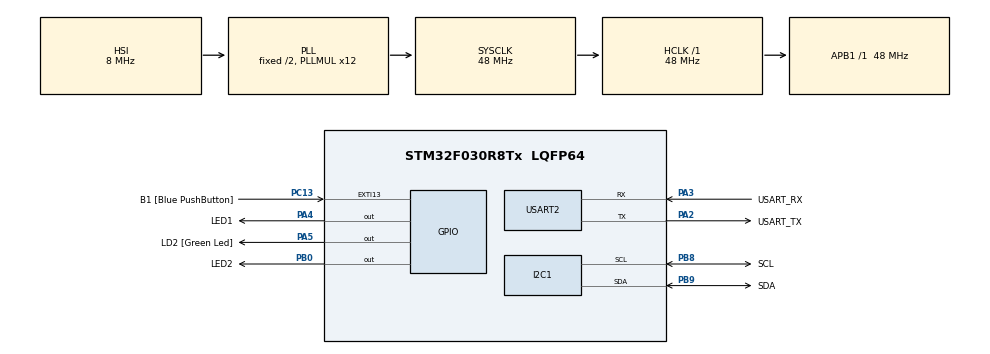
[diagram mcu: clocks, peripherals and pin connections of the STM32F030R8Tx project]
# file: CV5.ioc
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Dma.Request0=USART2_RX
Dma.USART2_RX.0.Direction=DMA_PERIPH_TO_MEMORY
Dma.USART2_RX.0.Instance=DMA1_Channel5
Dma.USART2_RX.0.MemDataAlignment=DMA_MDATAALIGN_BYTE
Dma.USART2_RX.0.MemInc=DMA_MINC_ENABLE
Dma.USART2_RX.0.Mode=DMA_CIRCULAR
Dma.USART2_RX.0.PeriphDataAlignment=DMA_PDATAALIGN_BYTE
Dma.USART2_RX.0.PeriphInc=DMA_PINC_DISABLE
Dma.USART2_RX.0.Priority=DMA_PRIORITY_LOW
Mcu.Family=STM32F0
Mcu.Name=STM32F030R8Tx
Mcu.Package=LQFP64
NVIC.DMA1_Channel4_5_IRQn=true\:0\:0\:false\:false\:true\:false\:true\:true
PA13.GPIO_Label=TMS
PA13.Mode=Serial_Wire
PA13.Signal=SYS_SWDIO
PA14.GPIO_Label=TCK
PA14.Mode=Serial_Wire
PA14.Signal=SYS_SWCLK
PA2.GPIO_Label=USART_TX
PA2.GPIO_Mode=GPIO_MODE_AF_PP
PA2.GPIO_PuPd=GPIO_NOPULL
PA2.GPIO_Speed=GPIO_SPEED_FREQ_LOW
PA2.Mode=Asynchronous
PA2.Signal=USART2_TX
PA3.GPIO_Label=USART_RX
PA3.GPIO_Mode=GPIO_MODE_AF_PP
PA3.GPIO_PuPd=GPIO_NOPULL
PA3.GPIO_Speed=GPIO_SPEED_FREQ_LOW
PA3.Mode=Asynchronous
PA3.Signal=USART2_RX
PA4.GPIO_Label=LED1
PA4.Signal=GPIO_Output
PA5.GPIO_Label=LD2 [Green Led]
PA5.GPIO_Mode=GPIO_MODE_OUTPUT_PP
PA5.GPIO_PuPd=GPIO_NOPULL
PA5.GPIO_Speed=GPIO_SPEED_FREQ_LOW
PA5.Signal=GPIO_Output
PB0.GPIO_Label=LED2
PB0.Signal=GPIO_Output
PB8.GPIO_Label=SCL
PB8.Mode=I2C
PB8.Signal=I2C1_SCL
PB9.GPIO_Label=SDA
PB9.Mode=I2C
PB9.Signal=I2C1_SDA
PC13.GPIO_Label=B1 [Blue PushButton]
PC13.GPIO_ModeDefaultEXTI=GPIO_MODE_IT_FALLING
PC13.Signal=GPXTI13
PC14-OSC32_IN.Mode=LSE-External-Oscillator
PC14-OSC32_IN.Signal=RCC_OSC32_IN
PC15-OSC32_OUT.Mode=LSE-External-Oscillator
PC15-OSC32_OUT.Signal=RCC_OSC32_OUT
PF0-OSC_IN.Mode=HSE-External-Clock-Source
PF0-OSC_IN.Signal=RCC_OSC_IN
PF1-OSC_OUT.Signal=RCC_OSC_OUT
ProjectManager.HeapSize=0x200
ProjectManager.StackSize=0x400
ProjectManager.TargetToolchain=STM32CubeIDE
RCC.AHBFreq_Value=48000000
RCC.APB1Freq_Value=48000000
RCC.APB1TimFreq_Value=48000000
RCC.HCLKFreq_Value=48000000
RCC.PLLMUL=RCC_PLL_MUL12
RCC.SYSCLKFreq_VALUE=48000000
RCC.SYSCLKSource=RCC_SYSCLKSOURCE_PLLCLK
USART2.VirtualMode-Asynchronous=VM_ASYNC
board=NUCLEO-F030R8

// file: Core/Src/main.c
/* USER CODE BEGIN Header */
/**
 ******************************************************************************
 * @file           : main.c
 * @brief          : Main program body
 ******************************************************************************
 * @attention
 *
 * Copyright (c) 2023 STMicroelectronics.
 * All rights reserved.
 *
 * This software is licensed under terms that can be found in the LICENSE file
 * in the root directory of this software component.
 * If no LICENSE file comes with this software, it is provided AS-IS.
 *
 ******************************************************************************
 */
/* USER CODE END Header */
#include "main.h"

/* USER CODE BEGIN Includes */
#include <string.h>
#include <stdio.h>
#include <stdlib.h>
/* USER CODE END Includes */

/* USER CODE BEGIN PD */
//definícia bufferu a indexu �?ítania/zápisu
#define RX_BUFFER_LEN 64
#define uart_rx_write_ptr (RX_BUFFER_LEN - hdma_usart2_rx.Instance->CNDTR)
#define CMD_BUFFER_LEN 256
#define EEPROM_ADDR 0xA0
//16-bit adresovanie
/* USER CODE END PD */

I2C_HandleTypeDef hi2c1;

UART_HandleTypeDef huart2;
DMA_HandleTypeDef hdma_usart2_rx;

/* USER CODE BEGIN PV */
//premenné pre def. bufferu a indexu �?ítania/zápisu
static uint8_t uart_rx_buf[RX_BUFFER_LEN];
static volatile uint16_t uart_rx_read_ptr = 0;
/* USER CODE END PV */

void SystemClock_Config(void);
static void MX_GPIO_Init(void);
static void MX_DMA_Init(void);
static void MX_USART2_UART_Init(void);
static void MX_I2C1_Init(void);

/* USER CODE BEGIN 0 */
int _write(int file, char const *buf, int n) {
	/* stdout redirection to UART2 */
	HAL_UART_Transmit(&huart2, (uint8_t*) (buf), n, HAL_MAX_DELAY);
	return n;
}

static void uart_process_command(char *cmd) {
	//addr - internal memory address
	//value - pointer to data buffer
	uint16_t addr = 0;
	uint8_t value = 0;

	char *token;
	token = strtok(cmd, " ");
	//printf("prijato: '%s'\n", cmd);

	if (strcasecmp(token, "HELLO") == 0) {
		printf("Komunikace OK.\n");
	} else if (strcasecmp(token, "LED1") == 0) {
		token = strtok(NULL, " ");
		if (strcasecmp(token, "ON") == 0) {
			HAL_GPIO_WritePin(LED1_GPIO_Port, LED1_Pin, GPIO_PIN_SET);
			printf("LED1 ON - OK.\n");
		} else if (strcasecmp(token, "OFF") == 0) {
			HAL_GPIO_WritePin(LED1_GPIO_Port, LED1_Pin, GPIO_PIN_RESET);
			printf("LED1 OFF - OK.\n");
		}
	} else if (strcasecmp(token, "LED2") == 0) {
		token = strtok(NULL, " ");
		if (strcasecmp(token, "ON") == 0) {
			HAL_GPIO_WritePin(LED2_GPIO_Port, LED2_Pin, GPIO_PIN_SET);
			printf("LED2 ON - OK.\n");
		} else if (strcasecmp(token, "OFF") == 0) {
			HAL_GPIO_WritePin(LED2_GPIO_Port, LED2_Pin, GPIO_PIN_RESET);
			printf("LED2 OFF - OK.\n");
		}
	} else if (strcasecmp(token, "STATUS") == 0) {
		printf("LED STATUS:\n");
		if (HAL_GPIO_ReadPin(LED1_GPIO_Port, LED1_Pin) == 0) {
			printf("LED1 OFF.\n");
		} else {
			printf("LED1 ON.\n");
		}

		if (HAL_GPIO_ReadPin(LED2_GPIO_Port, LED2_Pin) == 0) {
			printf("LED2 OFF.\n");
		} else {
			printf("LED2 ON.\n");
		}
	} else if (strcasecmp(token, "READ") == 0) {
		token = strtok(NULL, " ");
		addr = atoi(token);

		HAL_I2C_Mem_Read(&hi2c1, EEPROM_ADDR, addr, I2C_MEMADD_SIZE_16BIT,
				&value, 1, 1000);
		printf("Adresa %#04X = %#02X\n", addr, value);
	} else if (strcasecmp(token, "WRITE") == 0) {
		token = strtok(NULL, " ");
		addr = atoi(token);

		token = strtok(NULL, " ");
		value = atoi(token);

		HAL_I2C_Mem_Write(&hi2c1, EEPROM_ADDR, addr, I2C_MEMADD_SIZE_16BIT,
				&value, 1, 1000);
		while (HAL_I2C_IsDeviceReady(&hi2c1, EEPROM_ADDR, 300, 1000)
				== HAL_TIMEOUT) {
		}
		printf("OK.\n");
	} else if (strcasecmp(token, "DUMP") == 0) {
		//addr - internal memory address
		//value - pointer to data buffer
		//uint16_t addr;
		//uint8_t value;

		for (uint8_t i = 0; i < 16; i++) {
			addr = i;
			HAL_I2C_Mem_Read(&hi2c1, EEPROM_ADDR, addr, I2C_MEMADD_SIZE_16BIT,
					&value, 1, 1000);
			printf("%X ", value);
		}
		printf("\n");
	}
}

static void uart_byte_available(uint8_t c) {
	static uint16_t cnt;
	static char data[CMD_BUFFER_LEN];
	if (cnt < CMD_BUFFER_LEN && c >= 32 && c <= 126)
		data[cnt++] = c;
	if ((c == '\n' || c == '\r') && cnt > 0) {
		data[cnt] = '\0';
		uart_process_command(data);
		cnt = 0;
	}
}
/* USER CODE END 0 */

int main(void) {

	/* MCU Configuration--------------------------------------------------------*/

	/* Reset of all peripherals, Initializes the Flash interface and the Systick. */
	HAL_Init();

	/* Configure the system clock */
	SystemClock_Config();

	/* Initialize all configured peripherals */
	MX_GPIO_Init();
	MX_DMA_Init();
	MX_USART2_UART_Init();
	MX_I2C1_Init();
	/* USER CODE BEGIN 2 */
	//aktivovanie DMA pre UART
	HAL_UART_Receive_DMA(&huart2, uart_rx_buf, RX_BUFFER_LEN);
	/* USER CODE END 2 */

	/* Infinite loop */
	/* USER CODE BEGIN WHILE */
	while (1) {
		//UART loopback
		/*
		 uint8_t c;
		 HAL_UART_Receive(&huart2, &c, 1, HAL_MAX_DELAY);
		 HAL_UART_Transmit(&huart2, &c, 1, HAL_MAX_DELAY);
		 */
		/* USER CODE END WHILE */

		/* USER CODE BEGIN 3 */
		//spracovanie bitov z bufferu
		while (uart_rx_read_ptr != uart_rx_write_ptr) {
			uint8_t b = uart_rx_buf[uart_rx_read_ptr];
			if (++uart_rx_read_ptr >= RX_BUFFER_LEN)
				uart_rx_read_ptr = 0; // increase read pointer
			uart_byte_available(b); // process every received byte with the RX state machine
		}
	}
	/* USER CODE END 3 */
}

void SystemClock_Config(void) {
	RCC_OscInitTypeDef RCC_OscInitStruct = { 0 };
	RCC_ClkInitTypeDef RCC_ClkInitStruct = { 0 };
	RCC_PeriphCLKInitTypeDef PeriphClkInit = { 0 };

	/** Initializes the RCC Oscillators according to the specified parameters
	 * in the RCC_OscInitTypeDef structure.
	 */
	RCC_OscInitStruct.OscillatorType = RCC_OSCILLATORTYPE_HSI;
	RCC_OscInitStruct.HSIState = RCC_HSI_ON;
	RCC_OscInitStruct.HSICalibrationValue = RCC_HSICALIBRATION_DEFAULT;
	RCC_OscInitStruct.PLL.PLLState = RCC_PLL_ON;
	RCC_OscInitStruct.PLL.PLLSource = RCC_PLLSOURCE_HSI;
	RCC_OscInitStruct.PLL.PLLMUL = RCC_PLL_MUL12;
	RCC_OscInitStruct.PLL.PREDIV = RCC_PREDIV_DIV1;
	if (HAL_RCC_OscConfig(&RCC_OscInitStruct) != HAL_OK) {
		Error_Handler();
	}

	/** Initializes the CPU, AHB and APB buses clocks
	 */
	RCC_ClkInitStruct.ClockType = RCC_CLOCKTYPE_HCLK | RCC_CLOCKTYPE_SYSCLK
			| RCC_CLOCKTYPE_PCLK1;
	RCC_ClkInitStruct.SYSCLKSource = RCC_SYSCLKSOURCE_PLLCLK;
	RCC_ClkInitStruct.AHBCLKDivider = RCC_SYSCLK_DIV1;
	RCC_ClkInitStruct.APB1CLKDivider = RCC_HCLK_DIV1;

	if (HAL_RCC_ClockConfig(&RCC_ClkInitStruct, FLASH_LATENCY_1) != HAL_OK) {
		Error_Handler();
	}
	PeriphClkInit.PeriphClockSelection = RCC_PERIPHCLK_I2C1;
	PeriphClkInit.I2c1ClockSelection = RCC_I2C1CLKSOURCE_HSI;
	if (HAL_RCCEx_PeriphCLKConfig(&PeriphClkInit) != HAL_OK) {
		Error_Handler();
	}
}

static void MX_I2C1_Init(void) {

	hi2c1.Instance = I2C1;
	hi2c1.Init.Timing = 0x2000090E;
	hi2c1.Init.OwnAddress1 = 0;
	hi2c1.Init.AddressingMode = I2C_ADDRESSINGMODE_7BIT;
	hi2c1.Init.DualAddressMode = I2C_DUALADDRESS_DISABLE;
	hi2c1.Init.OwnAddress2 = 0;
	hi2c1.Init.OwnAddress2Masks = I2C_OA2_NOMASK;
	hi2c1.Init.GeneralCallMode = I2C_GENERALCALL_DISABLE;
	hi2c1.Init.NoStretchMode = I2C_NOSTRETCH_DISABLE;
	if (HAL_I2C_Init(&hi2c1) != HAL_OK) {
		Error_Handler();
	}

	/** Configure Analogue filter
	 */
	if (HAL_I2CEx_ConfigAnalogFilter(&hi2c1, I2C_ANALOGFILTER_ENABLE)
			!= HAL_OK) {
		Error_Handler();
	}

	/** Configure Digital filter
	 */
	if (HAL_I2CEx_ConfigDigitalFilter(&hi2c1, 0) != HAL_OK) {
		Error_Handler();
	}

}

static void MX_USART2_UART_Init(void) {

	huart2.Instance = USART2;
	huart2.Init.BaudRate = 38400;
	huart2.Init.WordLength = UART_WORDLENGTH_8B;
	huart2.Init.StopBits = UART_STOPBITS_1;
	huart2.Init.Parity = UART_PARITY_NONE;
	huart2.Init.Mode = UART_MODE_TX_RX;
	huart2.Init.HwFlowCtl = UART_HWCONTROL_NONE;
	huart2.Init.OverSampling = UART_OVERSAMPLING_16;
	huart2.Init.OneBitSampling = UART_ONE_BIT_SAMPLE_DISABLE;
	huart2.AdvancedInit.AdvFeatureInit = UART_ADVFEATURE_NO_INIT;
	if (HAL_UART_Init(&huart2) != HAL_OK) {
		Error_Handler();
	}

}

static void MX_DMA_Init(void) {

	/* DMA controller clock enable */
	__HAL_RCC_DMA1_CLK_ENABLE();

	/* DMA interrupt init */
	/* DMA1_Channel4_5_IRQn interrupt configuration */
	HAL_NVIC_SetPriority(DMA1_Channel4_5_IRQn, 0, 0);
	HAL_NVIC_EnableIRQ(DMA1_Channel4_5_IRQn);

}

static void MX_GPIO_Init(void) {
	GPIO_InitTypeDef GPIO_InitStruct = { 0 };

	/* GPIO Ports Clock Enable */
	__HAL_RCC_GPIOC_CLK_ENABLE();
	__HAL_RCC_GPIOF_CLK_ENABLE();
	__HAL_RCC_GPIOA_CLK_ENABLE();
	__HAL_RCC_GPIOB_CLK_ENABLE();

	/*Configure GPIO pin Output Level */
	HAL_GPIO_WritePin(GPIOA, LED1_Pin | LD2_Pin, GPIO_PIN_RESET);

	/*Configure GPIO pin Output Level */
	HAL_GPIO_WritePin(LED2_GPIO_Port, LED2_Pin, GPIO_PIN_RESET);

	/*Configure GPIO pin : B1_Pin */
	GPIO_InitStruct.Pin = B1_Pin;
	GPIO_InitStruct.Mode = GPIO_MODE_IT_FALLING;
	GPIO_InitStruct.Pull = GPIO_NOPULL;
	HAL_GPIO_Init(B1_GPIO_Port, &GPIO_InitStruct);

	/*Configure GPIO pins : LED1_Pin LD2_Pin */
	GPIO_InitStruct.Pin = LED1_Pin | LD2_Pin;
	GPIO_InitStruct.Mode = GPIO_MODE_OUTPUT_PP;
	GPIO_InitStruct.Pull = GPIO_NOPULL;
	GPIO_InitStruct.Speed = GPIO_SPEED_FREQ_LOW;
	HAL_GPIO_Init(GPIOA, &GPIO_InitStruct);

	/*Configure GPIO pin : LED2_Pin */
	GPIO_InitStruct.Pin = LED2_Pin;
	GPIO_InitStruct.Mode = GPIO_MODE_OUTPUT_PP;
	GPIO_InitStruct.Pull = GPIO_NOPULL;
	GPIO_InitStruct.Speed = GPIO_SPEED_FREQ_LOW;
	HAL_GPIO_Init(LED2_GPIO_Port, &GPIO_InitStruct);

}

void Error_Handler(void) {
	__disable_irq();
	while (1) {
	}
}
